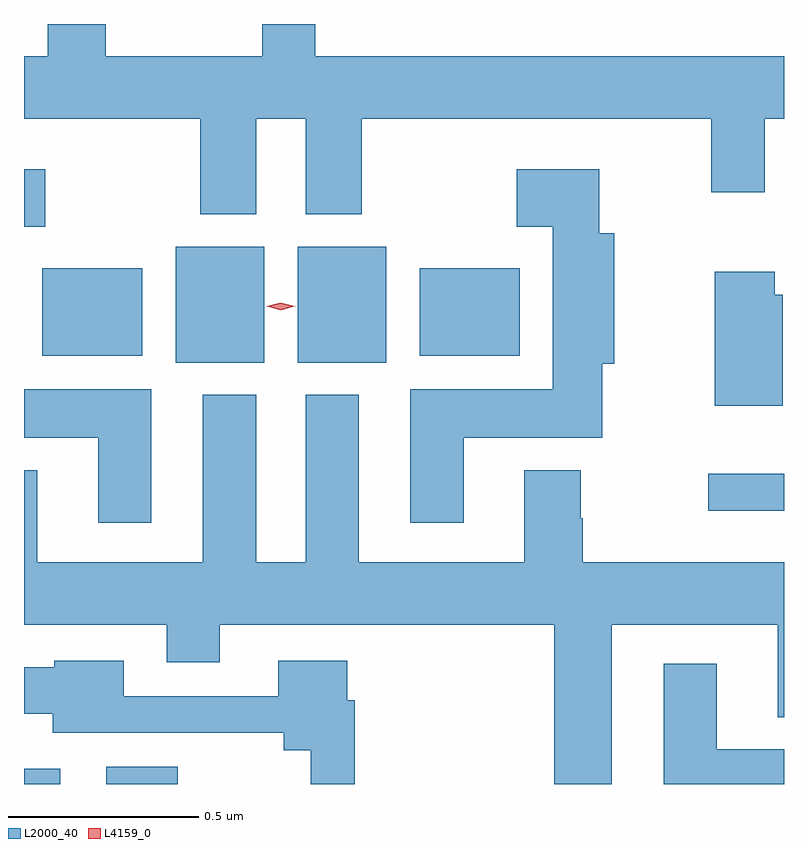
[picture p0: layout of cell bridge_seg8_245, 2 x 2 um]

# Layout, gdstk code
import gdstk
lib = gdstk.Library(unit=1e-6, precision=1e-09)
def R(c, l, rs):  # rectangles x0, y0, x1, y1
    for r in rs: c.add(gdstk.rectangle(r[:2], r[2:], *l))
def P(c, l, *ps):  # polygons
    for p in ps: c.add(gdstk.Polygon(p, *l))
L2000_40 = (2000, 40)
L4159_0 = (4159, 0)

bridge_seg8_245 = lib.new_cell('bridge_seg8_245')
R(bridge_seg8_245, L2000_40, [(270.308,1142.721,270.403,1142.761), (270.524,1142.721,270.712,1142.767), (272.109,1143.44,272.308,1143.537), (270.707,1143.83,270.94,1144.135), (271.028,1143.83,271.261,1144.135), (270.356,1143.848,270.619,1144.078), (271.349,1143.848,271.612,1144.078), (270.308,1144.187,270.364,1144.339)])
P(bridge_seg8_245, L2000_40, [(270.919,1144.472),(271.049,1144.472),(271.049,1144.22),(271.197,1144.22),(271.197,1144.472),(272.117,1144.472),(272.117,1144.278),(272.257,1144.278),(272.257,1144.472),(272.308,1144.472),(272.308,1144.636),(271.075,1144.636),(271.075,1144.721),(270.935,1144.721),(270.935,1144.636),(270.523,1144.636),(270.523,1144.721),(270.371,1144.721),(270.371,1144.636),(270.308,1144.636),(270.308,1144.472),(270.772,1144.472),(270.772,1144.22),(270.919,1144.22)],
  [(271.465,1143.632),(271.83,1143.632),(271.83,1143.827),(271.861,1143.827),(271.861,1144.171),(271.822,1144.171),(271.822,1144.339),(271.605,1144.339),(271.605,1144.187),(271.7,1144.187),(271.7,1143.76),(271.325,1143.76),(271.325,1143.408),(271.465,1143.408)],
  [(272.305,1144.008),(272.284,1144.008),(272.284,1144.069),(272.126,1144.069),(272.126,1143.716),(272.305,1143.716)],
  [(270.643,1143.76),(270.308,1143.76),(270.308,1143.632),(270.503,1143.632),(270.503,1143.408),(270.643,1143.408)],
  [(271.855,1143.14),(272.291,1143.14),(272.291,1142.897),(272.308,1142.897),(272.308,1143.304),(271.778,1143.304),(271.778,1143.42),(271.773,1143.42),(271.773,1143.547),(271.625,1143.547),(271.625,1143.304),(271.189,1143.304),(271.189,1143.745),(271.049,1143.745),(271.049,1143.304),(270.919,1143.304),(270.919,1143.745),(270.779,1143.745),(270.779,1143.304),(270.343,1143.304),(270.343,1143.547),(270.308,1143.547),(270.308,1143.14),(270.683,1143.14),(270.683,1143.041),(270.823,1143.041),(270.823,1143.14),(271.703,1143.14),(271.703,1142.721),(271.855,1142.721)],
  [(271.178,1142.942),(271.159,1142.942),(271.159,1143.046),(270.977,1143.046),(270.977,1142.952),(270.571,1142.952),(270.571,1143.046),(270.387,1143.046),(270.387,1143.028),(270.308,1143.028),(270.308,1142.906),(270.383,1142.906),(270.383,1142.856),(270.992,1142.856),(270.992,1142.81),(271.062,1142.81),(271.062,1142.721),(271.178,1142.721)],
  [(272.308,1142.812),(272.131,1142.812),(272.131,1143.037),(271.991,1143.037),(271.991,1142.721),(272.308,1142.721)])
P(bridge_seg8_245, L4159_0, [(270.984,1143.968),(270.947,1143.978),(270.946,1143.978),(270.947,1143.978),(270.984,1143.988),(271.021,1143.978),(271.022,1143.978),(271.021,1143.978)])

lib.write_gds('bridge_seg8_245.gds')
